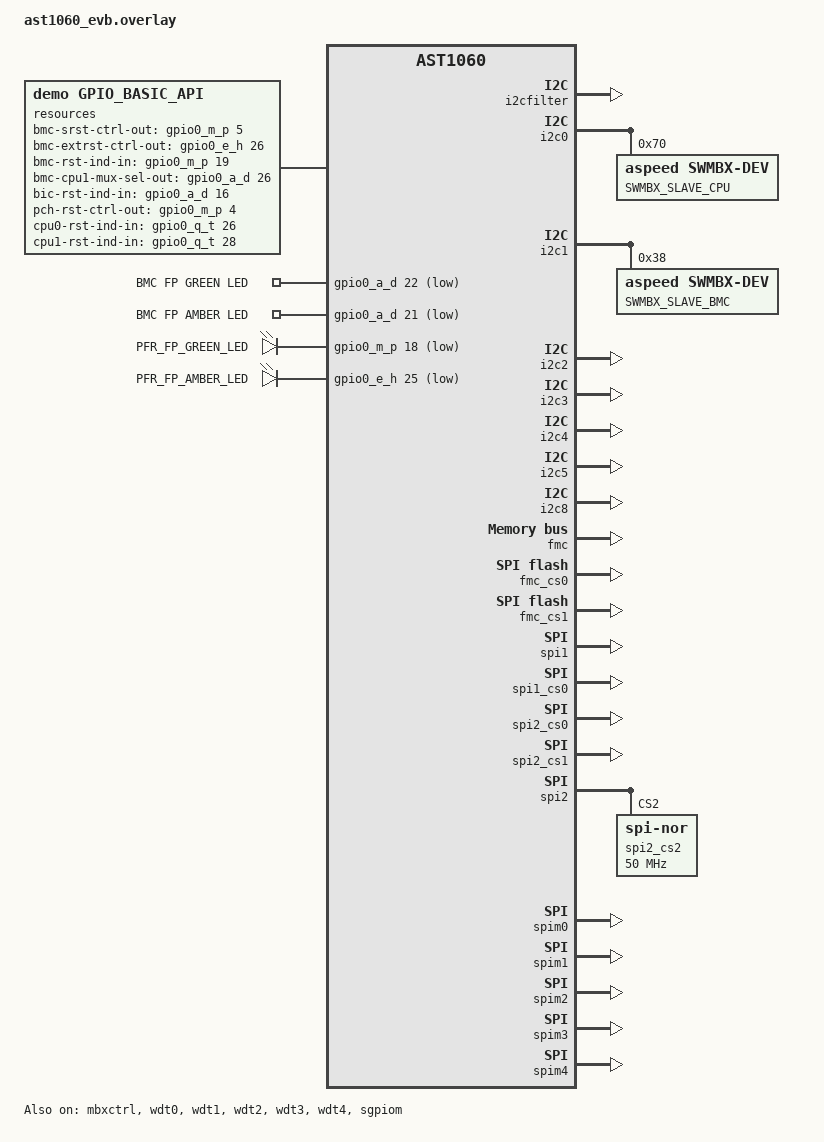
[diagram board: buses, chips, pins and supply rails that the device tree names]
/ {
	/* For v01.00.06 */
	resources {
		compatible = "demo,gpio_basic_api";
		bmc-srst-ctrl-out-gpios = <&gpio0_m_p 5 0>; /* GPIO_M5 */
		bmc-extrst-ctrl-out-gpios = <&gpio0_e_h 26 0>; /* GPIO_H2 */
		bmc-rst-ind-in-gpios = <&gpio0_m_p 19 0>; /* GPIO_O3 */
		bmc-cpu1-mux-sel-out-gpios = <&gpio0_a_d 26 0>; /* GPIO_D2 */
		bic-rst-ind-in-gpios = <&gpio0_a_d 16 0>; /* GPIO_C0 */
		pch-rst-ctrl-out-gpios = <&gpio0_m_p 4 0>; /* GPIO_M4 */
		cpu0-rst-ind-in-gpios = <&gpio0_q_t 26 0>; /* GPIO_T2 */
		cpu1-rst-ind-in-gpios = <&gpio0_q_t 28 0>; /* GPIO_T4 */
		cpu0-flash-pwr-out-gpios = <&gpio0_i_l 26 0>; /* GPIO_L2 */
		cpu1-flash-pwr-out-gpios = <&gpio0_i_l 27 0>; /* GPIO_L3 */

		platform-state-out-gpios =
			<&sgpiom_a_d 0 0>, <&sgpiom_a_d 1 0>,
			<&sgpiom_a_d 2 0>, <&sgpiom_a_d 3 0>,
			<&sgpiom_a_d 4 0>, <&sgpiom_a_d 5 0>,
			<&sgpiom_a_d 6 0>, <&sgpiom_a_d 7 0>;
	};

	aliases {
		led0 = &pfr_fp_green_led_out;
		led1 = &pfr_fp_amber_led_out;
		fp-input0 = &bmc_fp_green_led_in;
		fp-input1 = &bmc_fp_amber_led_in;
	};

        gpio_keys {
		compatible = "gpio-keys";
		bmc_fp_green_led_in: fp_green_led_in {
			gpios = <&gpio0_a_d 22 1>; /* GPIO_C6 */
			label = "BMC FP GREEN LED";
		};

		bmc_fp_amber_led_in: fp_amber_led_in {
			gpios = <&gpio0_a_d 21 1>; /* GPIO_C5 */
			label = "BMC FP AMBER LED";
		};
	};

	leds {
		compatible = "gpio-leds";

		pfr_fp_green_led_out: green_led {
			gpios = <&gpio0_m_p 18 1>; /* GPIO_O2 */
			label = "PFR_FP_GREEN_LED";
		};

		pfr_fp_amber_led_out: amber_led {
			gpios = <&gpio0_e_h 25 1>; /* GPIO_H1 */
			label = "PFR_FP_AMBER_LED";
		};
	};
};

&sram0 {
	reg = <0 DT_SIZE_K(640)>, <0xa0000 DT_SIZE_K(128)>;
};

&i2cfilter {
	pinctrl-0 = <&pinctrl_smbflt_default>;
	status = "okay";
};

&mbxctrl {
	status = "okay";
};

&i2c0 {
	status = "okay";
	pinctrl-0 = <&pinctrl_i2c0_default>;

	swmbx0: swmbx0@70 {
		compatible = "aspeed,swmbx-dev";
		reg = <0x70>;
		label = "SWMBX_SLAVE_CPU";
		size = <256>;
		port = <1>;
		status = "okay";
	};
};

&i2c1 {
	pinctrl-0 = <&pinctrl_i2c1_default>;
	status = "okay";

	swmbx1: swmbx1@38 {
		compatible = "aspeed,swmbx-dev";
		reg = <0x38>;
		label = "SWMBX_SLAVE_BMC";
		size = <256>;
		port = <0>;
		status = "okay";
	};
};

&i2c2 {
	pinctrl-0 = <&pinctrl_i2c2_default>;
	status = "okay";
};

&i2c3 {
	pinctrl-0 = <&pinctrl_i2c3_default>;
	status = "okay";

};

&i2c4 {
	pinctrl-0 = <&pinctrl_i2c4_default>;
	status = "okay";
};

&i2c5 {
	pinctrl-0 = <&pinctrl_i2c5_default>;
	status = "okay";
};

// for i2c filter testing
&i2c8 {
	pinctrl-0 = <&pinctrl_i2c8_default>;
	status = "okay";
};

&wdt0 {
	status = "okay";
};

&wdt1 {
	status = "okay";
};

&wdt2 {
	status = "okay";
};

&wdt3 {
	status = "okay";
};

&wdt4 {
	status = "okay";
};

&fmc {
	status = "okay";
};

&fmc_cs0 {
	/delete-property/ broken-sfdp;
	/delete-property/ write-block-size;
	status = "okay";
	spi-max-buswidth = <4>;
	spi-max-frequency = <50000000>;
	partitions {
		compatible = "fixed-partitions";
		#address-cells = <1>;
		#size-cells = <1>;
		active_partition: partition@0 {
			label = "active";
			reg = <0x0 0x60000>;
		};

		recovery_partition: partition@1 {
			label = "recovery";
			reg = <0x60000 0x60000>;
		};

		state_partition: partition@2 {
			label = "state";
			reg = <0xC0000 0x10000>;
		};

		intel_state_partition: partition@3 {
			label = "intel_state";
			reg = <0xD0000 0x10000>;
		};

		key_partition: partition@4 {
			label = "key";
			reg = <0xE0000 0x10000>;
		};

		log_partition: partition@5 {
			label = "log";
			reg = <0xF0000 0x20000>;
		};
	};
};

&fmc_cs1 {
	status = "okay";
	spi-max-buswidth = <4>;
	spi-max-frequency = <50000000>;
};

&spi1 {
	num-cs = <1>;
	status = "okay";
};

&spi1_cs0 {
	spi-max-buswidth = <4>;
	spi-max-frequency = <50000000>;
	status = "okay";

	partitions {
		compatible = "fixed-partitions";
		#address-cells = <1>;
		#size-cells = <1>;

		/* 896KB */
		bmc_uboot_partition: partition@0 {
			label = "bmc-uboot";
			reg = <0x00000000 0x000e0000>;
		};

		/* 128KB */
		bmc_pfm_partition: partition@e0000{
			reg = <0x000e0000 0x00020000>;
			label = "bmc-pfm";
		};

		/* 128KB */
		bmc_ub_env_partition: partition@100000{
			reg = <0x00100000 0x00020000>;
			label = "bmc-ub-env";
		};

		/* 2048KB */
		bmc_sofs_partition: partition@120000{
			reg = <0x00120000 0x00200000>;
			label = "bmc-sofs";
		};

		/* 8064KB */
		bmc_rwfs_partition: partition@320000{
			label = "bmc-rwfs";
			reg = <0x00320000 0x007e0000>;
		};

		/* 31744KB */
		bmc_fitimg_partition: partition@b00000{
			label = "bmc-fitimg";
			reg = <0x00b00000 0x01f00000>;
		};

		/* 32768KB  */
		bmc_rc_image_partition: partition@2a00000{
			label = "bmc-rc-image";
			reg = <0x02a00000 0x02000000>;
		};

		/* 32768KB */
		bmc_stg_partition: partition@4a00000{
			label = "bmc-stg";
			reg = <0x04a00000 0x02000000>;
		};

		/* 16384KB */
		bmc_pch_stg_partition: partition@6a00000{
			label = "bmc-pch-stg";
			reg = <0x06a00000 0x01000000>;
		};

		/* 5120KB */
		bmc_pfr_stg_partition: partition@7a00000{
			label = "bmc-pfr-stg";
			reg = <0x07a00000 0x00500000>;
		};

		/* 128KB */
		afm_act_partition: partition@7f00000 {
			label = "afm-act";
			reg = <0x07f00000 0x00020000>;
		};

		/* 128KB */
		afm_rc_partition: partition@7f20000 {
			label = "afm-rc";
			reg = <0x07f20000 0x00020000>;
		};

		/* 768KB */
		reserved_partition: partition@7f40000 {
			reg = <0x07f40000 0x000c0000>;
			label = "reserved";
		};
	};
};

/* Use AST1060 SPI2 as the internal SPI master to
 * to access the SPI flashes connected to SPI monitors
 * Here,
 * "SPI2_CS0" used to access flash connected to SPI_Monitor_2,
 * "SPI2_CS1" is used to access flash connected to SPI_Monitor_3,
 * "SPI2_CS2" is used to access flash connected to SPI_Monitor_4,
 */

&spi2_cs0 {
	spi-max-buswidth = <4>;
	spi-max-frequency = <50000000>;
	reg = <0>;
	status = "okay";

	partitions {
		compatible = "fixed-partitions";
		#address-cells = <1>;
		#size-cells = <1>;

		/* 8MB */
		pch_active_partition: partition@0 {
			label = "pch-act";
			reg = <0x00000000 0x00800000>;
		};

		/* 8MB compressed pch recovery image */
		pch_recovery_partition: partition@800000 {
			label = "pch-rc";
			reg = <0x00800000 0x00800000>;
		};

		/* 8MB compressed pch staging image */
		pch_staging_partition: partition@1000000 {
			label = "pch-stg";
			reg = <0x01000000 0x00800000>;
		};

		/* 4MB */
		pch_pfm_partition: partition@1800000 {
			label = "pch-pfm";
			reg = <0x01800000 0x00400000>;
		};
	};
};

&spi2_cs1 {
	spi-max-buswidth = <4>;
	spi-max-frequency = <50000000>;
	reg = <1>;
	status = "okay";
};

&spi2 {
	internal-mux-master = <2>;
	spi-monitor-output-base = <2>;
	spi-monitor-common-ctrl = <&spim0>;
	pinctrl-0 = <>;

	num-cs = <3>;
	status = "okay";

	spi2_cs2: flash@2 {
		compatible = "jedec,spi-nor";
		reg = <2>;
		spi-max-buswidth = <4>;
		spi-max-frequency = <50000000>;
		label = "spi2_cs2";
		status = "okay";
	};
};

&spim0 {
	status = "okay";
};

&spim1 {
	allow-cmds = [03 13 0b 0c 6b 6c 01 05 35 06 04 20 21 9f 5a b7 e9 32 34 d8 dc 02 12 15 31 3b 3c];
	log-ram-size = <0x200>;
	pinctrl-0 = <&pinctrl_spim1_cs &pinctrl_spim1_in_default &pinctrl_spim1_qspi_in_default
				&pinctrl_spim1_rst_out &pinctrl_spim1_muxsel>;

	flash-device = <&spi1_cs0>;
	status = "okay";
	write-forbidden-regions = <
		0x00000000 0x08000000
	>;
};

&spim2 {
	allow-cmds = [03 13 0b 0c 6b 6c 01 05 35 06 04 20 21 9f 5a b7 e9 32 34 d8 dc 02 12 15 31 3b 3c];
	log-ram-size = <0x200>;
	pinctrl-0 = <&pinctrl_spim2_cs &pinctrl_spim2_in_default &pinctrl_spim2_out_default
				&pinctrl_spim2_qspi_in_default &pinctrl_spim2_qspi_out_default
				&pinctrl_spim2_rst_out>;

	flash-device = <&spi2_cs0>;
	status = "okay";
	write-forbidden-regions = <
		0x00000000 0x08000000
	>;
};

&spim3 {
	allow-cmds = [03 13 0b 0c 6b 6c 01 05 35 06 04 20 21 9f 5a b7 e9 32 34 d8 dc 02 12 15 31 3b 3c];
	log-ram-size = <0x200>;
	pinctrl-0 = <&pinctrl_spim3_cs &pinctrl_spim3_in_default &pinctrl_spim3_out_default
				&pinctrl_spim3_qspi_in_default &pinctrl_spim3_qspi_out_default
				&pinctrl_spim3_rst_out>;

	flash-device = <&spi2_cs1>;
	status = "okay";
};

&spim4 {
	allow-cmds = [03 13 0b 0c 6b 6c 01 05 35 06 04 20 21 9f 5a b7 e9 32 34 d8 dc 02 12 15 31 3b 3c];
	log-ram-size = <0x200>;
	/* for demo purpose */
	/*
	read-forbidden-regions = <
		0x00000000 0x10000
		0x00274000 0x4000
		0x01E00000 0x80000
	>;

	write-forbidden-regions = <
		0x00000000 0x10000
		0x013FC000 0x28000
		0x0FFF8000 0x8000
	>;
	*/

	pinctrl-0 = <&pinctrl_spim4_cs &pinctrl_spim4_in_default &pinctrl_spim4_out_default
				&pinctrl_spim4_qspi_in_default &pinctrl_spim4_qspi_out_default
				&pinctrl_spim4_rst_out>;

	flash-device = <&spi2_cs2>;
	status = "okay";
};

&sgpiom {
	status = "okay";
};
